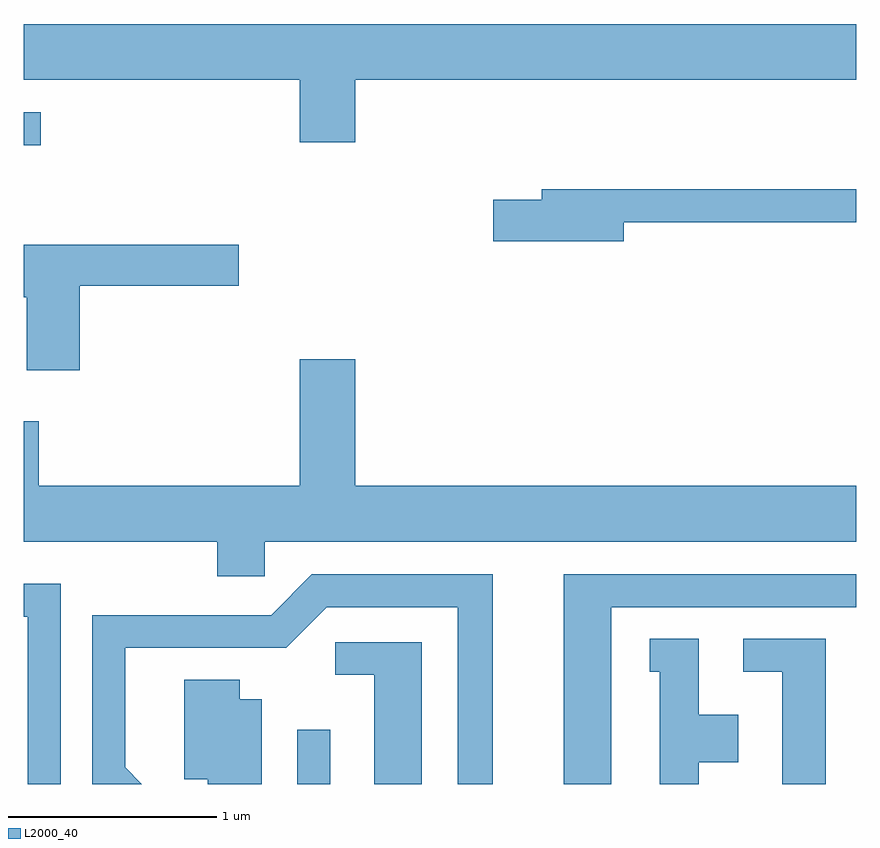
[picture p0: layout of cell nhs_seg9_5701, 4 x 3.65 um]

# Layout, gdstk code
import gdstk
lib = gdstk.Library(unit=1e-6, precision=1e-09)
def R(c, l, rs):  # rectangles x0, y0, x1, y1
    for r in rs: c.add(gdstk.rectangle(r[:2], r[2:], *l))
def P(c, l, *ps):  # polygons
    for p in ps: c.add(gdstk.Polygon(p, *l))
L2000_40 = (2000, 40)

nhs_seg9_5701 = lib.new_cell('nhs_seg9_5701')
R(nhs_seg9_5701, L2000_40, [(354.926,1988.432,355.084,1988.693), (353.611,1991.501,353.693,1991.659)])
P(nhs_seg9_5701, L2000_40, [(355.204,1991.816),(357.611,1991.816),(357.611,1992.084),(353.611,1992.084),(353.611,1991.816),(354.936,1991.816),(354.936,1991.516),(355.204,1991.516)],
  [(356.494,1991.131),(357.611,1991.131),(357.611,1991.289),(356.101,1991.289),(356.101,1991.239),(355.866,1991.239),(355.866,1991.041),(356.494,1991.041)],
  [(353.879,1990.826),(354.644,1990.826),(354.644,1991.024),(353.611,1991.024),(353.611,1990.771),(353.626,1990.771),(353.626,1990.421),(353.879,1990.421)],
  [(354.769,1989.596),(357.611,1989.596),(357.611,1989.864),(355.204,1989.864),(355.204,1990.474),(354.936,1990.474),(354.936,1989.864),(353.684,1989.864),(353.684,1990.174),(353.611,1990.174),(353.611,1989.596),(354.541,1989.596),(354.541,1989.431),(354.769,1989.431)],
  [(356.434,1989.281),(357.611,1989.281),(357.611,1989.439),(356.206,1989.439),(356.206,1988.432),(356.434,1988.432)],
  [(354.099,1988.512),(354.099,1989.086),(354.872,1989.086),(355.067,1989.281),(355.696,1989.281),(355.696,1988.432),(355.864,1988.432),(355.864,1989.439),(354.994,1989.439),(354.799,1989.244),(353.941,1989.244),(353.941,1988.432),(354.179,1988.432)],
  [(353.789,1989.394),(353.611,1989.394),(353.611,1989.236),(353.631,1989.236),(353.631,1988.432),(353.789,1988.432)],
  [(356.854,1988.536),(357.044,1988.536),(357.044,1988.764),(356.854,1988.764),(356.854,1989.129),(356.618,1989.129),(356.618,1988.971),(356.666,1988.971),(356.666,1988.432),(356.854,1988.432)],
  [(357.464,1989.129),(357.068,1989.129),(357.068,1988.971),(357.256,1988.971),(357.256,1988.432),(357.464,1988.432)],
  [(355.524,1989.114),(355.108,1989.114),(355.108,1988.956),(355.296,1988.956),(355.296,1988.432),(355.524,1988.432)],
  [(354.754,1988.839),(354.649,1988.839),(354.649,1988.934),(354.381,1988.934),(354.381,1988.456),(354.496,1988.456),(354.496,1988.432),(354.754,1988.432)])

lib.write_gds('nhs_seg9_5701.gds')
